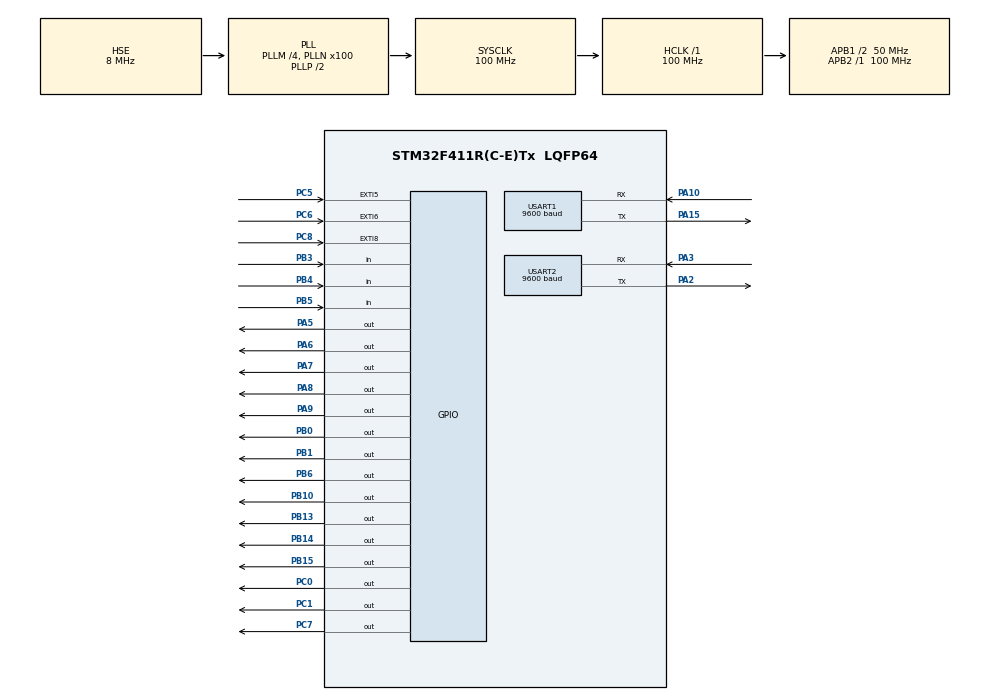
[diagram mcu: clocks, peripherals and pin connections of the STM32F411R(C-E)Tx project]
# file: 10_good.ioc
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Mcu.Family=STM32F4
Mcu.Name=STM32F411R(C-E)Tx
Mcu.Package=LQFP64
NVIC.PriorityGroup=NVIC_PRIORITYGROUP_0
NVIC.USART1_IRQn=true\:0\:0\:false\:false\:true\:true\:true\:true
NVIC.USART2_IRQn=true\:0\:0\:false\:false\:true\:true\:true\:true
PA10.Mode=Asynchronous
PA10.Signal=USART1_RX
PA13.Mode=Serial_Wire
PA13.Signal=SYS_JTMS-SWDIO
PA14.Mode=Serial_Wire
PA14.Signal=SYS_JTCK-SWCLK
PA15.Mode=Asynchronous
PA15.Signal=USART1_TX
PA2.Mode=Asynchronous
PA2.Signal=USART2_TX
PA3.Mode=Asynchronous
PA3.Signal=USART2_RX
PA5.GPIO_ModeDefaultOutputPP=GPIO_MODE_OUTPUT_PP
PA5.GPIO_PuPd=GPIO_NOPULL
PA5.GPIO_Speed=GPIO_SPEED_FREQ_LOW
PA5.PinState=GPIO_PIN_RESET
PA5.Signal=GPIO_Output
PA6.GPIO_ModeDefaultOutputPP=GPIO_MODE_OUTPUT_PP
PA6.GPIO_PuPd=GPIO_NOPULL
PA6.GPIO_Speed=GPIO_SPEED_FREQ_LOW
PA6.PinState=GPIO_PIN_RESET
PA6.Signal=GPIO_Output
PA7.GPIO_ModeDefaultOutputPP=GPIO_MODE_OUTPUT_PP
PA7.GPIO_PuPd=GPIO_NOPULL
PA7.GPIO_Speed=GPIO_SPEED_FREQ_LOW
PA7.PinState=GPIO_PIN_RESET
PA7.Signal=GPIO_Output
PA8.PinState=GPIO_PIN_RESET
PA8.Signal=GPIO_Output
PA9.GPIO_ModeDefaultOutputPP=GPIO_MODE_OUTPUT_PP
PA9.GPIO_PuPd=GPIO_NOPULL
PA9.GPIO_Speed=GPIO_SPEED_FREQ_LOW
PA9.PinState=GPIO_PIN_RESET
PA9.Signal=GPIO_Output
PB0.Signal=GPIO_Output
PB1.Signal=GPIO_Output
PB10.GPIO_ModeDefaultOutputPP=GPIO_MODE_OUTPUT_PP
PB10.GPIO_PuPd=GPIO_NOPULL
PB10.GPIO_Speed=GPIO_SPEED_FREQ_LOW
PB10.PinState=GPIO_PIN_RESET
PB10.Signal=GPIO_Output
PB13.Signal=GPIO_Output
PB14.Signal=GPIO_Output
PB15.Signal=GPIO_Output
PB3.Signal=GPIO_Input
PB4.Signal=GPIO_Input
PB5.Signal=GPIO_Input
PB6.GPIO_ModeDefaultOutputPP=GPIO_MODE_OUTPUT_PP
PB6.GPIO_PuPd=GPIO_NOPULL
PB6.GPIO_Speed=GPIO_SPEED_FREQ_LOW
PB6.PinState=GPIO_PIN_RESET
PB6.Signal=GPIO_Output
PC0.Signal=GPIO_Output
PC1.Signal=GPIO_Output
PC5.Signal=GPXTI5
PC6.Signal=GPXTI6
PC7.GPIO_ModeDefaultOutputPP=GPIO_MODE_OUTPUT_PP
PC7.GPIO_PuPd=GPIO_NOPULL
PC7.GPIO_Speed=GPIO_SPEED_FREQ_LOW
PC7.PinState=GPIO_PIN_RESET
PC7.Signal=GPIO_Output
PC8.Signal=GPXTI8
PH0\ -\ OSC_IN.Mode=HSE-External-Oscillator
PH0\ -\ OSC_IN.Signal=RCC_OSC_IN
PH1\ -\ OSC_OUT.Mode=HSE-External-Oscillator
PH1\ -\ OSC_OUT.Signal=RCC_OSC_OUT
ProjectManager.HeapSize=0x200
ProjectManager.StackSize=0x400
ProjectManager.TargetToolchain=STM32CubeIDE
RCC.48MHZClocksFreq_Value=50000000
RCC.AHBFreq_Value=100000000
RCC.APB1CLKDivider=RCC_HCLK_DIV2
RCC.APB1Freq_Value=50000000
RCC.APB1TimFreq_Value=100000000
RCC.APB2Freq_Value=100000000
RCC.APB2TimFreq_Value=100000000
RCC.CortexFreq_Value=100000000
RCC.HCLKFreq_Value=100000000
RCC.HSE_VALUE=8000000
RCC.HSI_VALUE=16000000
RCC.LSE_VALUE=32768
RCC.PLLM=4
RCC.PLLN=100
RCC.PLLSourceVirtual=RCC_PLLSOURCE_HSE
RCC.SYSCLKFreq_VALUE=100000000
RCC.SYSCLKSource=RCC_SYSCLKSOURCE_PLLCLK
RCC.VCOOutputFreq_Value=200000000
USART1.BaudRate=9600
USART1.VirtualMode=VM_ASYNC
USART2.BaudRate=9600
USART2.VirtualMode=VM_ASYNC
board=NUCLEO-F411RE

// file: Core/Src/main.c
/* USER CODE BEGIN Header */
/**
  ******************************************************************************
  * @file           : main.c
  * @brief          : Main program body
  ******************************************************************************
  * @attention
  *
  * Copyright (c) 2025 STMicroelectronics.
  * All rights reserved.
  *
  * This software is licensed under terms that can be found in the LICENSE file
  * in the root directory of this software component.
  * If no LICENSE file comes with this software, it is provided AS-IS.
  *
  ******************************************************************************
  */
/* USER CODE END Header */
#include "main.h"
#include "usart.h"
#include "gpio.h"

/* USER CODE BEGIN Includes */

#include "led.h"
#include "button.h"
#include "fnd.h"
#include "stepper.h"

/* USER CODE END Includes */

/* USER CODE BEGIN PD */

#define DEBOUNCE_DELAY  	50

/* USER CODE END PD */

/* USER CODE BEGIN PV */

uint8_t rxData1;
uint8_t rxData2;

volatile uint8_t isTx1Busy = 0;
volatile uint8_t isTx2Busy = 0;

/* USER CODE END PV */

void SystemClock_Config(void);
/* USER CODE BEGIN PFP */

uint32_t millis()
{
	return HAL_GetTick();
}

void HAL_UART_RxCpltCallback(UART_HandleTypeDef *huart)
{
    if (huart->Instance == USART2)
    {
        HAL_UART_Receive_IT(&huart2, &rxData2, sizeof(rxData2));

        if (!isTx1Busy)
        {
            isTx1Busy = 1; // 전송 중 플래그 설정
            HAL_UART_Transmit_IT(&huart1, &rxData2, sizeof(rxData2));
        }
    }
    else if (huart->Instance == USART1)
    {
        HAL_UART_Receive_IT(&huart1, &rxData1, sizeof(rxData1));

        if (!isTx2Busy)
        {
            isTx2Busy = 1; // 전송 중 플래그 설정
            HAL_UART_Transmit_IT(&huart2, &rxData1, sizeof(rxData1));
        }
    }
}

void HAL_UART_TxCpltCallback(UART_HandleTypeDef *huart)
{
    if (huart->Instance == USART1)
    {
        isTx1Busy = 0; // 전송 완료 → 다시 전송 가능
    }
    else if (huart->Instance == USART2)
    {
        isTx2Busy = 0;
    }
}

/* USER CODE END PFP */

/* USER CODE BEGIN 0 */
void HAL_GPIO_EXTI_Callback(uint16_t GPIO_Pin)
{
   if(GPIO_Pin == GPIO_PIN_6)
   {
//      HAL_GPIO_WritePin(GPIOA, GPIO_PIN_5, 1);
      HAL_GPIO_TogglePin(GPIOB, GPIO_PIN_0);
   }
   if(GPIO_Pin == GPIO_PIN_8)
   {
//      HAL_GPIO_WritePin(GPIOA, GPIO_PIN_6, 1);
      HAL_GPIO_TogglePin(GPIOC, GPIO_PIN_1);
   }
   if(GPIO_Pin == GPIO_PIN_9)
   {
//      HAL_GPIO_WritePin(GPIOA, GPIO_PIN_7, 1);
      HAL_GPIO_TogglePin(GPIOC, GPIO_PIN_0);
   }

}
/* USER CODE END 0 */

int main(void)
{

  /* MCU Configuration--------------------------------------------------------*/

  /* Reset of all peripherals, Initializes the Flash interface and the Systick. */
  HAL_Init();

  /* Configure the system clock */
  SystemClock_Config();

  /* Initialize all configured peripherals */
  MX_GPIO_Init();
  MX_USART1_UART_Init();
  MX_USART2_UART_Init();
  /* USER CODE BEGIN 2 */

  HAL_UART_Receive_IT(&huart2, &rxData2, 1);
  HAL_UART_Receive_IT(&huart1, &rxData1, 1);

  displayNumber(1);

  /* USER CODE END 2 */

  /* Infinite loop */
  /* USER CODE BEGIN WHILE */
  while (1)
  {

	  if (rxData1 >= '0' && rxData1 <= '9')
	     {
		     uint8_t num = rxData1 -'0';

		     displayNumber(num);

		     switch (num)
		          {
		              case 1:
		                  HAL_GPIO_TogglePin(GPIOB, GPIO_PIN_0); // 버튼1과 동일 동작
//		                  rotateDegrees(90, DIR_CW);
		                  rotateUntilSensor(DIR_CW);
		                  break;

		              case 2:
		                  HAL_GPIO_TogglePin(GPIOC, GPIO_PIN_1); // 버튼2와 동일 동작
//		                  rotateDegrees(180, DIR_CW);
		                  rotateUntilSensor(DIR_CCW);
		                  break;

		              case 3:
		                  HAL_GPIO_TogglePin(GPIOC, GPIO_PIN_0); // 버튼3과 동일 동작
		                  rotateDegrees(360, DIR_CW);
		                  break;

		              default:
		                  // 다른 숫자는 아무 동작 안함
		                  break;
		          }

		          rxData1 = 0; // 처리 완료 후 초기화 (중복 실행 방지)

	     }

	  		 if (buttonGetPressed(0))
	  		 {  HAL_GPIO_TogglePin(GPIOB, GPIO_PIN_0);

	  			rotateUntilSensor(DIR_CW);

	  		 }
	  		 if (buttonGetPressed(1))
	  		 {  HAL_GPIO_TogglePin(GPIOC, GPIO_PIN_1);
	  			rotateUntilSensor(DIR_CCW);
	  		  }
	  		 if (buttonGetPressed(2))
	  		  { HAL_GPIO_TogglePin(GPIOC, GPIO_PIN_0);
	  			rotateDegrees(360, DIR_CW);
	  		  }

  	}

    /* USER CODE END WHILE */

}

void SystemClock_Config(void)
{
  RCC_OscInitTypeDef RCC_OscInitStruct = {0};
  RCC_ClkInitTypeDef RCC_ClkInitStruct = {0};

  /** Configure the main internal regulator output voltage
  */
  __HAL_RCC_PWR_CLK_ENABLE();
  __HAL_PWR_VOLTAGESCALING_CONFIG(PWR_REGULATOR_VOLTAGE_SCALE1);

  /** Initializes the RCC Oscillators according to the specified parameters
  * in the RCC_OscInitTypeDef structure.
  */
  RCC_OscInitStruct.OscillatorType = RCC_OSCILLATORTYPE_HSE;
  RCC_OscInitStruct.HSEState = RCC_HSE_ON;
  RCC_OscInitStruct.PLL.PLLState = RCC_PLL_ON;
  RCC_OscInitStruct.PLL.PLLSource = RCC_PLLSOURCE_HSE;
  RCC_OscInitStruct.PLL.PLLM = 4;
  RCC_OscInitStruct.PLL.PLLN = 100;
  RCC_OscInitStruct.PLL.PLLP = RCC_PLLP_DIV2;
  RCC_OscInitStruct.PLL.PLLQ = 4;
  if (HAL_RCC_OscConfig(&RCC_OscInitStruct) != HAL_OK)
  {
    Error_Handler();
  }

  /** Initializes the CPU, AHB and APB buses clocks
  */
  RCC_ClkInitStruct.ClockType = RCC_CLOCKTYPE_HCLK|RCC_CLOCKTYPE_SYSCLK
                              |RCC_CLOCKTYPE_PCLK1|RCC_CLOCKTYPE_PCLK2;
  RCC_ClkInitStruct.SYSCLKSource = RCC_SYSCLKSOURCE_PLLCLK;
  RCC_ClkInitStruct.AHBCLKDivider = RCC_SYSCLK_DIV1;
  RCC_ClkInitStruct.APB1CLKDivider = RCC_HCLK_DIV2;
  RCC_ClkInitStruct.APB2CLKDivider = RCC_HCLK_DIV1;

  if (HAL_RCC_ClockConfig(&RCC_ClkInitStruct, FLASH_LATENCY_3) != HAL_OK)
  {
    Error_Handler();
  }
}

void Error_Handler(void)
{
  __disable_irq();
  while (1)
  {
  }
}
